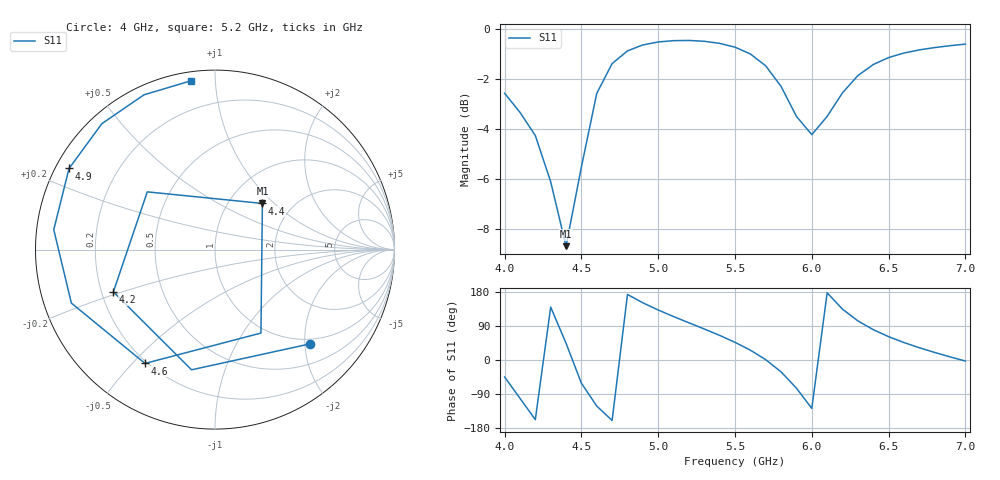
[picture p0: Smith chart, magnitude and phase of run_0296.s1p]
! Touchstone file exported from HFSS 2024.2.0
!  File:  C:/Users/wsak9/Desktop/Sim Fast/Widenad Patch/WP_AI_V1_sweep.aedt
!  Generated:  03:27:43 AM Oct 14, 2026
!  Design:  A1_model
!  Project:  WP_AI_V1_sweep
!  Setup:  Setup1
!  Solution:  Sweep
! Variables:
!  Air_gap = 3.67mm
!  Curve_Amp1 = 3.38
!  Curve_len1 = 1
!  Curve_pos = 13.07mm
!  Extra = 2.62mm
!  H_sub = 0.79mm
!  L_Patch = 22.14mm
!  L_Patch1 = 12.95mm
!  Sx = 4.96mm
!  Sy = 4.65mm
!  WS = 0.99mm
!  W_Patch = 22.3mm
!  W_Patch1 = 10.33mm
!Data is not renormalized
# GHz S MA
! Terminal data exported
! Port[1] = 1
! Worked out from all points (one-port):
!   31 points, 4 GHz to 7 GHz, reference per port
!   lowest |S11| = -8.7 dB at 4.4 GHz (marker M1), VSWR 2.17
!   |S11| at or under -10 dB: nowhere
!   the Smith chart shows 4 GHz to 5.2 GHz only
!   S11 on the Smith chart (normalised r, x): 4 GHz: 0.89, -2.11; 4.2 GHz: 0.25, -0.19; 4.4 GHz: 1.42, +0.85; 4.6 GHz: 0.19, -0.54; 4.9 GHz: 0.04, +0.26; 5.2 GHz: 0.05, +0.87
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4  0.7449 -44.9
4.1  0.6823 -101.0
4.2  0.6132 -157.4
4.3  0.4958 139.6
4.4  0.3686 44.3
4.5  0.5308 -61.2
4.6  0.7444 -121.6
4.7  0.854 -159.6
4.8  0.9052 172.9
4.9  0.9304 150.9
5  0.9432 131.9
5.1  0.9489 114.6
5.2  0.9497 98.2
5.3  0.9461 81.8
5.4  0.9372 64.9
5.5  0.9208 46.7
5.6  0.8926 26.0
5.7  0.8449 0.9
5.8  0.7687 -31.3
5.9  0.6697 -74.4
6  0.6157 -127.8
6.1  0.6697 177.3
6.2  0.7465 134.1
6.3  0.808 103.2
6.4  0.8501 80.1
6.5  0.8778 61.6
6.7  0.9094 32.4
7  0.9339 -2.8
